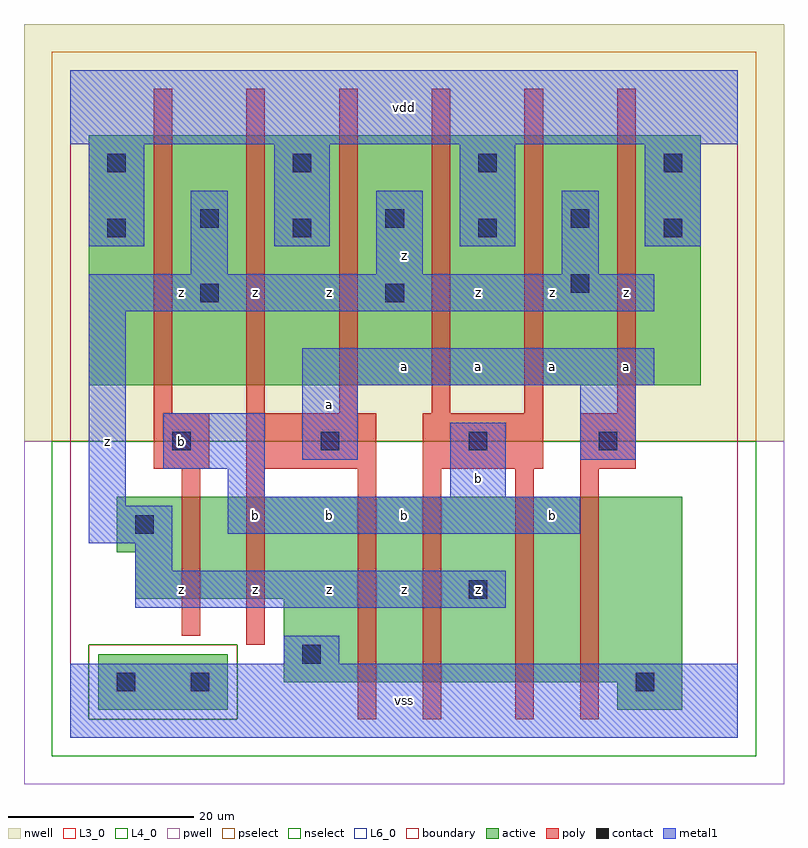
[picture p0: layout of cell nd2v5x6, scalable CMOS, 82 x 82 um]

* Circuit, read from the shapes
.subckt nd2v5x6 a b vdd vss z
M1 n1 b z vss nfet w=11u l=2u
M2 vss a n1 vss nfet w=11u l=2u
M3 n2 a vss vss nfet w=20u l=2u
M4 z b n2 vss nfet w=20u l=2u
M5 n3 b z vss nfet w=20u l=2u
M6 vss a n3 vss nfet w=20u l=2u
M7 z b vdd n4 pfet w=27u l=2u m=3
M8 vdd a z n4 pfet w=27u l=2u m=3
.ends

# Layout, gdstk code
import gdstk
lib = gdstk.Library(unit=1e-6, precision=1e-09)
def R(c, l, rs):  # rectangles x0, y0, x1, y1
    for r in rs: c.add(gdstk.rectangle(r[:2], r[2:], *l))
def A(c, l, x, y, w, h, nx, ny, dx, dy):  # array of equal rectangles
    R(c, l, [(x+i*dx, y+j*dy, x+i*dx+w, y+j*dy+h) for i in range(nx) for j in range(ny)])
L3_0 = (3, 0)
L4_0 = (4, 0)
L6_0 = (6, 0)
contact = (25, 0)
pwell = (41, 0)
nwell = (42, 0)
active = (43, 0)
pselect = (44, 0)
nselect = (45, 0)
poly = (46, 0)
metal1 = (49, 0)
boundary = (63, 0)

nd2v5x6 = lib.new_cell('nd2v5x6')
R(nd2v5x6, L3_0, [(59,3,66,6), (23,6,66,15), (7,15,66,20), (5,20,66,26)])
R(nd2v5x6, L4_0, [(2,38,68,65)])
R(nd2v5x6, L6_0, [(3,3,17,9)])
A(nd2v5x6, contact, 11, 31, 2, 2, 3, 1, 16, 0)
A(nd2v5x6, contact, 4, 54, 2, 2, 4, 2, 20, 7)
A(nd2v5x6, contact, 14, 55, 2, 2, 3, 1, 20, 0)
R(nd2v5x6, contact, [(5,5,7,7), (13,5,15,7), (61,5,63,7), (25,8,27,10), (43,15,45,17), (7,22,9,24), (57,31,59,33), (14,47,16,49), (34,47,36,49), (54,48,56,50)])
R(nd2v5x6, pwell, [(-5,-5,77,32)])
R(nd2v5x6, nwell, [(-5,32,77,77)])
R(nd2v5x6, active, [(3,3,17,9), (59,3,66,6), (23,6,66,15), (7,15,66,20), (5,20,66,26), (2,38,68,65)])
R(nd2v5x6, pselect, [(2,2,18,10), (-2,32,74,74)])
R(nd2v5x6, nselect, [(-2,-2,74,2), (-2,2,2,10), (18,2,74,10), (-2,10,74,32)])
A(nd2v5x6, poly, 9, 35, 2, 35, 6, 1, 10, 0)
R(nd2v5x6, poly, [(31,2,33,29), (38,2,40,29), (48,2,50,29), (55,2,57,29), (19,10,21,29), (12,11,14,29), (9,29,15,35), (19,29,33,35), (38,29,51,35), (55,29,61,35)])
A(nd2v5x6, metal1, 2, 53, 6, 11, 4, 1, 20, 0)
R(nd2v5x6, metal1, [(0,0,72,8), (23,8,29,11), (7,14,47,18), (7,18,11,21), (2,21,11,25), (17,22,55,26), (2,25,6,46), (17,26,21,29), (41,26,47,34), (10,29,21,35), (25,30,31,38), (55,30,61,38), (25,38,63,42), (2,46,63,50), (13,50,17,59), (33,50,38,59), (53,50,57,59), (0,64,72,72)])
R(nd2v5x6, boundary, [(0,0,72,72)])
nd2v5x6.add(gdstk.Label('z', (4,32), layer=49, texttype=0))
nd2v5x6.add(gdstk.Label('z', (20,16), layer=49, texttype=0))
nd2v5x6.add(gdstk.Label('z', (12,16), layer=49, texttype=0))
nd2v5x6.add(gdstk.Label('b', (20,24), layer=49, texttype=0))
nd2v5x6.add(gdstk.Label('b', (12,32), layer=49, texttype=0))
nd2v5x6.add(gdstk.Label('z', (12,48), layer=49, texttype=0))
nd2v5x6.add(gdstk.Label('z', (20,48), layer=49, texttype=0))
nd2v5x6.add(gdstk.Label('vss', (36,4), layer=49, texttype=0))
nd2v5x6.add(gdstk.Label('z', (36,16), layer=49, texttype=0))
nd2v5x6.add(gdstk.Label('z', (28,16), layer=49, texttype=0))
nd2v5x6.add(gdstk.Label('b', (28,24), layer=49, texttype=0))
nd2v5x6.add(gdstk.Label('b', (36,24), layer=49, texttype=0))
nd2v5x6.add(gdstk.Label('a', (28,36), layer=49, texttype=0))
nd2v5x6.add(gdstk.Label('a', (36,40), layer=49, texttype=0))
nd2v5x6.add(gdstk.Label('z', (28,48), layer=49, texttype=0))
nd2v5x6.add(gdstk.Label('z', (36,52), layer=49, texttype=0))
nd2v5x6.add(gdstk.Label('vdd', (36,68), layer=49, texttype=0))
nd2v5x6.add(gdstk.Label('z', (44,16), layer=49, texttype=0))
nd2v5x6.add(gdstk.Label('b', (52,24), layer=49, texttype=0))
nd2v5x6.add(gdstk.Label('b', (44,28), layer=49, texttype=0))
nd2v5x6.add(gdstk.Label('a', (44,40), layer=49, texttype=0))
nd2v5x6.add(gdstk.Label('a', (52,40), layer=49, texttype=0))
nd2v5x6.add(gdstk.Label('z', (44,48), layer=49, texttype=0))
nd2v5x6.add(gdstk.Label('z', (52,48), layer=49, texttype=0))
nd2v5x6.add(gdstk.Label('a', (60,40), layer=49, texttype=0))
nd2v5x6.add(gdstk.Label('z', (60,48), layer=49, texttype=0))

lib.write_gds('nd2v5x6.gds')
